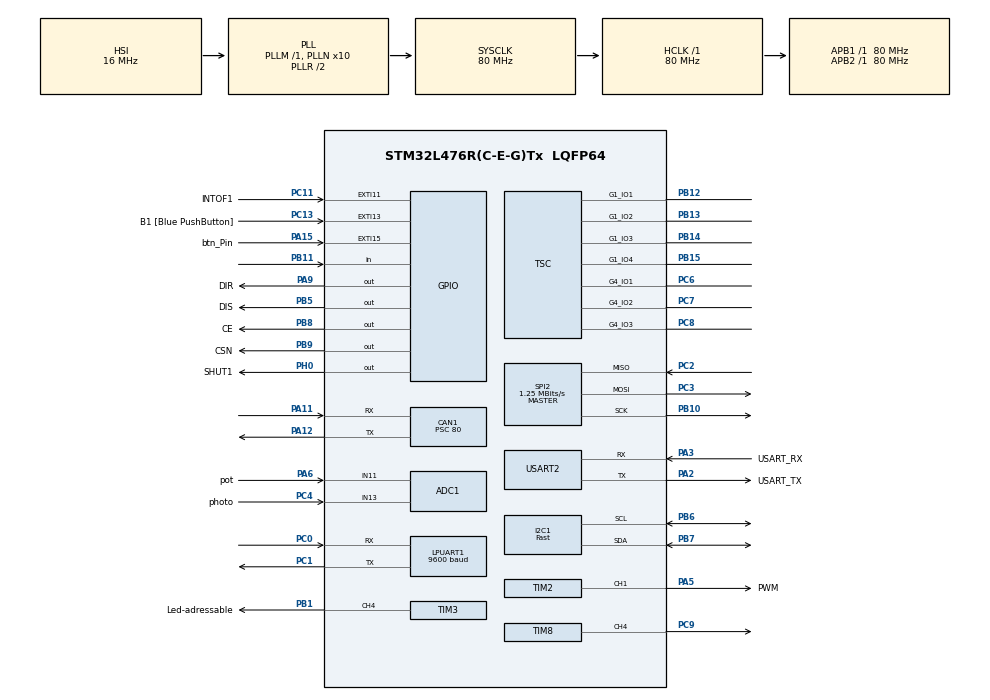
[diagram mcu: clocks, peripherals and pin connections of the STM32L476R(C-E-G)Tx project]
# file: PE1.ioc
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ADC1.Channel-0\#ChannelRegularConversion=ADC_CHANNEL_13
ADC1.Channel-1\#ChannelRegularConversion=ADC_CHANNEL_11
ADC1.ContinuousConvMode=DISABLE
ADC1.DMAContinuousRequests=DISABLE
ADC1.EnableAnalogWatchDog3=true
ADC1.ExternalTrigConv=ADC_SOFTWARE_START
ADC1.MonitoredBy-1\#ChannelRegularConversion=__NULL
ADC1.NbrOfConversion=2
ADC1.NbrOfConversionFlag=1
ADC1.OffsetNumber-0\#ChannelRegularConversion=ADC_OFFSET_NONE
ADC1.OffsetNumber-1\#ChannelRegularConversion=ADC_OFFSET_NONE
ADC1.Rank-0\#ChannelRegularConversion=1
ADC1.Rank-1\#ChannelRegularConversion=2
ADC1.SamplingTime-0\#ChannelRegularConversion=ADC_SAMPLETIME_640CYCLES_5
ADC1.SamplingTime-1\#ChannelRegularConversion=ADC_SAMPLETIME_640CYCLES_5
ADC1.master=1
CAN1.BS1=CAN_BS1_6TQ
CAN1.BS2=CAN_BS2_3TQ
CAN1.CalculateBaudRate=100000
CAN1.CalculateTimeBit=10000
CAN1.CalculateTimeQuantum=1000.0
CAN1.Prescaler=80
Dma.Request0=TIM3_CH4/UP
Dma.TIM3_CH4/UP.0.Direction=DMA_MEMORY_TO_PERIPH
Dma.TIM3_CH4/UP.0.Instance=DMA1_Channel3
Dma.TIM3_CH4/UP.0.MemDataAlignment=DMA_MDATAALIGN_HALFWORD
Dma.TIM3_CH4/UP.0.MemInc=DMA_MINC_ENABLE
Dma.TIM3_CH4/UP.0.Mode=DMA_NORMAL
Dma.TIM3_CH4/UP.0.PeriphDataAlignment=DMA_PDATAALIGN_HALFWORD
Dma.TIM3_CH4/UP.0.PeriphInc=DMA_PINC_DISABLE
Dma.TIM3_CH4/UP.0.Priority=DMA_PRIORITY_LOW
I2C1.I2C_Speed_Mode=I2C_Fast
I2C1.Timing=0x00F12981
LPUART1.BaudRate=9600
LPUART1.WordLength=UART_WORDLENGTH_8B
Mcu.Family=STM32L4
Mcu.Name=STM32L476R(C-E-G)Tx
Mcu.Package=LQFP64
NVIC.ADC1_2_IRQn=true\:0\:0\:false\:false\:true\:true\:true\:true
NVIC.CAN1_RX0_IRQn=true\:0\:0\:false\:false\:true\:true\:true\:true
NVIC.CAN1_RX1_IRQn=true\:0\:0\:false\:false\:true\:true\:true\:true
NVIC.CAN1_SCE_IRQn=true\:0\:0\:false\:false\:true\:true\:true\:true
NVIC.CAN1_TX_IRQn=true\:0\:0\:false\:false\:true\:true\:true\:true
NVIC.DMA1_Channel3_IRQn=true\:0\:0\:false\:false\:true\:false\:true\:true
NVIC.EXTI15_10_IRQn=true\:0\:0\:false\:false\:true\:true\:true\:true
NVIC.LPUART1_IRQn=true\:0\:0\:false\:false\:true\:true\:true\:true
NVIC.PriorityGroup=NVIC_PRIORITYGROUP_4
NVIC.TIM3_IRQn=true\:0\:0\:false\:false\:true\:true\:true\:true
NVIC.TIM4_IRQn=true\:0\:0\:false\:false\:true\:true\:true\:true
NVIC.TIM6_DAC_IRQn=true\:0\:0\:false\:false\:true\:true\:true\:true
PA11.Mode=CAN_Activate
PA11.Signal=CAN1_RX
PA12.Mode=CAN_Activate
PA12.Signal=CAN1_TX
PA13\ (JTMS-SWDIO).GPIO_Label=TMS
PA13\ (JTMS-SWDIO).Mode=Serial_Wire
PA13\ (JTMS-SWDIO).Signal=SYS_JTMS-SWDIO
PA14\ (JTCK-SWCLK).GPIO_Label=TCK
PA14\ (JTCK-SWCLK).Mode=Serial_Wire
PA14\ (JTCK-SWCLK).Signal=SYS_JTCK-SWCLK
PA15\ (JTDI).GPIO_Label=btn_Pin
PA15\ (JTDI).Signal=GPXTI15
PA2.GPIO_Label=USART_TX
PA2.GPIO_Mode=GPIO_MODE_AF_PP
PA2.GPIO_PuPd=GPIO_NOPULL
PA2.GPIO_Speed=GPIO_SPEED_FREQ_VERY_HIGH
PA2.Mode=Asynchronous
PA2.Signal=USART2_TX
PA3.GPIO_Label=USART_RX
PA3.GPIO_Mode=GPIO_MODE_AF_PP
PA3.GPIO_PuPd=GPIO_NOPULL
PA3.GPIO_Speed=GPIO_SPEED_FREQ_VERY_HIGH
PA3.Mode=Asynchronous
PA3.Signal=USART2_RX
PA5.GPIO_Label=PWM
PA5.Signal=S_TIM2_CH1
PA6.GPIO_Label=pot
PA6.Signal=ADCx_IN11
PA9.GPIO_Label=DIR
PA9.Signal=GPIO_Output
PB1.GPIO_Label=Led-adressable
PB1.Signal=S_TIM3_CH4
PB10.Mode=Full_Duplex_Master
PB10.Signal=SPI2_SCK
PB11.GPIO_PuPd=GPIO_PULLUP
PB11.Signal=GPIO_Input
PB12.Mode=G1_IO1-Channel
PB12.Signal=TSC_G1_IO1
PB13.Mode=G1_IO2-Channel
PB13.Signal=TSC_G1_IO2
PB14.Mode=G1_IO3-Channel
PB14.Signal=TSC_G1_IO3
PB15.Mode=G1_IO4-Sampling
PB15.Signal=TSC_G1_IO4
PB3\ (JTDO-TRACESWO).GPIO_Label=SWO
PB3\ (JTDO-TRACESWO).Signal=SYS_JTDO-SWO
PB5.GPIO_Label=DIS
PB5.Signal=GPIO_Output
PB6.Mode=I2C
PB6.Signal=I2C1_SCL
PB7.Mode=I2C
PB7.Signal=I2C1_SDA
PB8.GPIO_Label=CE
PB8.Signal=GPIO_Output
PB9.GPIO_Label=CSN
PB9.Signal=GPIO_Output
PC0.Mode=Asynchronous
PC0.Signal=LPUART1_RX
PC1.Mode=Asynchronous
PC1.Signal=LPUART1_TX
PC11.GPIO_Label=INTOF1
PC11.GPIO_ModeDefaultEXTI=GPIO_MODE_IT_FALLING
PC11.Signal=GPXTI11
PC13.GPIO_Label=B1 [Blue PushButton]
PC13.GPIO_ModeDefaultEXTI=GPIO_MODE_IT_FALLING
PC13.GPIO_PuPd=GPIO_NOPULL
PC13.Signal=GPXTI13
PC14-OSC32_IN\ (PC14).Mode=LSE-External-Oscillator
PC14-OSC32_IN\ (PC14).Signal=RCC_OSC32_IN
PC15-OSC32_OUT\ (PC15).Mode=LSE-External-Oscillator
PC15-OSC32_OUT\ (PC15).Signal=RCC_OSC32_OUT
PC2.Mode=Full_Duplex_Master
PC2.Signal=SPI2_MISO
PC3.Mode=Full_Duplex_Master
PC3.Signal=SPI2_MOSI
PC4.GPIO_Label=photo
PC4.Signal=ADCx_IN13
PC6.Mode=G4_IO1-Channel
PC6.Signal=TSC_G4_IO1
PC7.Mode=G4_IO2-Channel
PC7.Signal=TSC_G4_IO2
PC8.Mode=G4_IO3-Sampling
PC8.Signal=TSC_G4_IO3
PC9.Signal=S_TIM8_CH4
PH0-OSC_IN\ (PH0).GPIO_Label=SHUT1
PH0-OSC_IN\ (PH0).Signal=GPIO_Output
PH1-OSC_OUT\ (PH1).Signal=RCC_OSC_OUT
ProjectManager.HeapSize=0x200
ProjectManager.StackSize=0x400
ProjectManager.TargetToolchain=STM32CubeIDE
RCC.ADCCLockSelection=RCC_ADCCLKSOURCE_SYSCLK
RCC.ADCFreq_Value=80000000
RCC.AHBFreq_Value=80000000
RCC.APB1Freq_Value=80000000
RCC.APB1TimFreq_Value=80000000
RCC.APB2Freq_Value=80000000
RCC.APB2TimFreq_Value=80000000
RCC.CortexFreq_Value=80000000
RCC.HCLKFreq_Value=80000000
RCC.HSE_VALUE=8000000
RCC.HSI_VALUE=16000000
RCC.LPUART1CLockSelection=RCC_LPUART1CLKSOURCE_HSI
RCC.MSI_VALUE=4000000
RCC.PLLN=10
RCC.PLLSourceVirtual=RCC_PLLSOURCE_HSI
RCC.PREFETCH_ENABLE=1
RCC.SYSCLKFreq_VALUE=80000000
RCC.SYSCLKSource=RCC_SYSCLKSOURCE_PLLCLK
RCC.USBFreq_Value=64000000
RCC.VCOOutputFreq_Value=160000000
SH.ADCx_IN11.0=ADC1_IN11,IN11-Single-Ended
SH.ADCx_IN13.0=ADC1_IN13,IN13-Single-Ended
SH.S_TIM2_CH1.0=TIM2_CH1,PWM Generation1 CH1
SH.S_TIM3_CH4.0=TIM3_CH4,PWM Generation4 CH4
SH.S_TIM8_CH4.0=TIM8_CH4,PWM Generation4 CH4
SPI2.BaudRatePrescaler=SPI_BAUDRATEPRESCALER_64
SPI2.CLKPhase=SPI_PHASE_2EDGE
SPI2.CalculateBaudRate=1.25 MBits/s
SPI2.DataSize=SPI_DATASIZE_8BIT
SPI2.Direction=SPI_DIRECTION_2LINES
SPI2.Mode=SPI_MODE_MASTER
SPI2.VirtualType=VM_MASTER
TIM2.Channel-PWM\ Generation1\ CH1=TIM_CHANNEL_1
TIM2.Period=80000-1
TIM3.Channel-PWM\ Generation4\ CH4=TIM_CHANNEL_4
TIM3.Period=100-1
TIM3.Prescaler=1-1
TIM4.Channel-PWM\ Generation1\ No\ Output=TIM_CHANNEL_1
TIM4.Period=1000-1
TIM4.Prescaler=800-1
TIM6.Period=10000-1
TIM6.Prescaler=8000-1
TIM8.Channel-PWM\ Generation4\ CH4=TIM_CHANNEL_4
TIM8.Period=40000-1
TIM8.Prescaler=2-1
TSC.ChannelIOs-G1_IO1=TSC_GROUP1_IO1
TSC.ChannelIOs-G1_IO2=TSC_GROUP1_IO2
TSC.ChannelIOs-G1_IO3=TSC_GROUP1_IO3
TSC.ChannelIOs-G4_IO1=TSC_GROUP4_IO1
TSC.ChannelIOs-G4_IO2=TSC_GROUP4_IO2
TSC.SamplingIOs-G1_IO4=TSC_GROUP1_IO4
TSC.SamplingIOs-G4_IO3=TSC_GROUP4_IO3
USART2.VirtualMode-Asynchronous=VM_ASYNC
VP_TIM2_VS_ClockSourceINT.Mode=Internal
VP_TIM3_VS_ClockSourceINT.Mode=Internal
VP_TIM4_VS_ClockSourceINT.Mode=Internal
VP_TIM4_VS_no_output1.Mode=PWM Generation1 No Output
VP_TIM6_VS_ClockSourceINT.Mode=Enable_Timer
VP_TIM8_VS_ClockSourceINT.Mode=Internal
board=NUCLEO-L476RG

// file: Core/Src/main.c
/* USER CODE BEGIN Header */
/**
  ******************************************************************************
  * @file           : main.c
  * @brief          : Main program body
  ******************************************************************************
  * @attention
  *
  * Copyright (c) 2025 STMicroelectronics.
  * All rights reserved.
  *
  * This software is licensed under terms that can be found in the LICENSE file
  * in the root directory of this software component.
  * If no LICENSE file comes with this software, it is provided AS-IS.
  *
  ******************************************************************************
  */
/* USER CODE END Header */
#include "main.h"
#include "adc.h"
#include "can.h"
#include "dma.h"
#include "i2c.h"
#include "usart.h"
#include "spi.h"
#include "tim.h"
#include "tsc.h"
#include "gpio.h"

/* USER CODE BEGIN Includes */

#include "buzzer.h"
#include "stdio.h"
#include "stdbool.h"
#include <stdlib.h>
#include"fonts.h"
 #include"ssd1306.h"
#include "SGP40.h"
#include "../../Drivers/VL53L1_Nucleo/core/inc/vl53l1_api.h"
/* USER CODE END Includes */

/* USER CODE BEGIN PV */

// Commande au capteur
uint8_t control_T[2] = {0x80,0x15}; // one-shot + shutdown
// Adresse de lecture du résultat
uint8_t Temp_Address = 0x02;
// Contenu des registres de réponse du capteur
uint8_t Temp[3];
// Chaîne tampon pour sprintf()
char str[10];
uint8_t sw= 1;
//int32_t Temperature;
float fTemperature;
uint16_t message;
uint16_t message2;
HAL_StatusTypeDef error_code;
uint16_t PwmRC[96+50];

volatile uint8_t datasentflag = 0;

uint8_t DevAddress = 0x59; // Adresse SGP40
uint8_t cmd_test[]={0x28, 0x0E}; // Auto-test

uint8_t cmd_mesure[]={0x26, 0x0F, 0x80 ,0x00, 0xA2, 0x66, 0x66, 0x93};

uint8_t read[3];

uint16_t Sraw_voc;
uint32_t pot_Value = 0;
uint32_t ldr_value = 0;
uint32_t count500 =0;
uint32_t count100 =0;
uint32_t count15 =0;
uint32_t count =0;
uint32_t count11 =0;
uint32_t count540=0;

uint32_t count50=0;
uint8_t once= 1;
uint8_t once2= 1;
char str2[10]; // sg oled
volatile uint16_t running_day= 0;
volatile uint16_t running_night= 0;
uint16_t fisrtCall=1;
HAL_StatusTypeDef error_code2;

#define TOUCH_THRESHOLD 35

uint8_t received_char;
int buffer_index = 0;
uint32_t baseline_group1 = 0;
uint32_t baseline_group4 = 0;
uint32_t adc_value = 0;
 uint8_t RxData[8];
CAN_RxHeaderTypeDef RxHeader;
uint8_t cpt_adc=0;

uint8_t play_triggered = 0;
typedef struct {
    int hours;
    int minutes;
    int seconds;
} Time;
char msg[32];
Time currentTime = {0, 0, 0};
Time alarmTime = {20, 20, 20};
volatile bool timeUpdate= 0;
uint8_t time_buffer[10];

uint32_t value_group1 = 0;
uint32_t value_group4 = 0;

VL53L1_Dev_t devLeft;
VL53L1_Dev_t devRight;
VL53L1_DEV Dev;
uint8_t ToFSensor = 0;
uint16_t step=0;
VL53L1_RangingMeasurementData_t RangingData;
uint16_t Dist_Obst_G;

 GPIO_PinState last_state = GPIO_PIN_SET;
   GPIO_PinState current_state = GPIO_PIN_SET;
   uint16_t diff =0;
/* USER CODE END PV */

void SystemClock_Config(void);
/* USER CODE BEGIN PFP */

extern void update_display(Time t,uint32_t ldr );

extern buzzer_status_t buzzer_ePlaySong( uint16_t tempo);
extern void buzzer_vStop(void);

void progressive_led_on(void);
void set_leds(uint8_t num_on);
uint8_t bonne_sommeil(uint16_t message, uint16_t message2);

void Read_Touch_Group1(void);
void Read_Touch_Group4(void);
bool isStableTouch(uint8_t group_idx, uint32_t base, uint32_t threshold);

void display_temp();
void display_IAQ();
void poll_PB11(void);
void ResetAndInitializeTOF1(void );
/* USER CODE END PFP */

int main(void)
{

  /* MCU Configuration--------------------------------------------------------*/

  /* Reset of all peripherals, Initializes the Flash interface and the Systick. */
  HAL_Init();

  /* Configure the system clock */
  SystemClock_Config();

  /* Initialize all configured peripherals */
  MX_GPIO_Init();
  MX_DMA_Init();
  MX_USART2_UART_Init();
  MX_TIM8_Init();
  MX_LPUART1_UART_Init();
  MX_I2C1_Init();
  MX_TIM6_Init();
  MX_SPI2_Init();
  MX_TSC_Init();
  MX_CAN1_Init();
  MX_TIM3_Init();
  MX_ADC1_Init();
  MX_TIM2_Init();
  MX_TIM4_Init();
  /* USER CODE BEGIN 2 */
  HAL_TSC_Start(&htsc);

	 HAL_CAN_Start(&hcan1);
	 SSD1306_Init();

//callbacks BusCan

	 HAL_GPIO_WritePin(CSN_GPIO_Port,CSN_Pin,GPIO_PIN_SET);

//moteur

	 HAL_GPIO_WritePin(GPIOA, DIR_Pin, GPIO_PIN_RESET);
	 HAL_GPIO_WritePin(GPIOB, DIS_Pin, GPIO_PIN_SET);
	 __HAL_TIM_SET_COMPARE(&htim2,TIM_CHANNEL_1, 20000);

	 HAL_TIM_PWM_Start(&htim2, TIM_CHANNEL_1);

	// Configuration des filtres
  	CAN_FilterTypeDef sFilterConfig;
  	sFilterConfig.FilterBank = 0;
  	sFilterConfig.FilterMode = CAN_FILTERMODE_IDLIST;
  	sFilterConfig.FilterScale = CAN_FILTERSCALE_16BIT;
  	sFilterConfig.FilterIdHigh = 0x0220;
  	sFilterConfig.FilterIdLow = 0x0220;
  	sFilterConfig.FilterMaskIdHigh = 0x0220;
  	sFilterConfig.FilterMaskIdLow = 0x0220;
  	sFilterConfig.FilterFIFOAssignment = CAN_FILTER_FIFO0;
  	sFilterConfig.FilterActivation = ENABLE;
  	HAL_CAN_ConfigFilter(&hcan1, &sFilterConfig );

  // Envoi de la commande SGP40

	error_code=HAL_I2C_Master_Transmit(&hi2c1,(DevAddress<<1),(uint8_t *)cmd_test, sizeof(cmd_test),HAL_MAX_DELAY);
	HAL_Delay(320);

  // Lecture de la réponse du SGP40

	error_code=HAL_I2C_Master_Receive(&hi2c1,(DevAddress<<1), (uint8_t *)read, sizeof(read),HAL_MAX_DELAY);

    set_leds(0);

     HAL_TIM_Base_Start_IT(&htim6);
	 HAL_TIM_PWM_Start_IT(&htim4, TIM_CHANNEL_4);

     HAL_CAN_ActivateNotification(&hcan1,CAN_IT_RX_FIFO0_MSG_PENDING );
	 HAL_CAN_ActivateNotification(&hcan1,CAN_IT_TX_MAILBOX_EMPTY );

	 //bluetooth
	 HAL_UART_Receive_IT(&hlpuart1,time_buffer, 10);

	 ResetAndInitializeTOF1();
  /* USER CODE END 2 */

  /* Infinite loop */
  while (1)
  {

    /* USER CODE BEGIN 3 */

	  //condition moteur
	  if(count50> 50)  {HAL_ADC_Start_IT(&hadc1); count50= 0;}

		if( (pot_Value/ 10) < Sraw_voc)
			  HAL_GPIO_WritePin(GPIOB, DIS_Pin, GPIO_PIN_RESET);
		else
			  HAL_GPIO_WritePin(GPIOB, DIS_Pin, GPIO_PIN_SET);

//time
		if(timeUpdate) {

		char test = time_buffer[0];

		timeUpdate=0;

		if(test=='A'){
			sscanf(time_buffer, "%*c:%d:%d:%d", &alarmTime.hours, &alarmTime.minutes, &alarmTime.seconds );
			//buzzer_ePlaySong( 100);
		}
		else{
			sscanf(time_buffer, "%*c:%d:%d:%d", &currentTime.hours, &currentTime.minutes, &currentTime.seconds );
			update_display(currentTime, ldr_value);
		}
		}

//alarme
	  if((alarmTime.hours==currentTime.hours)  &&(alarmTime.minutes==currentTime.minutes)&&(currentTime.seconds ==alarmTime.seconds)){
		  buzzer_ePlaySong( 120);
		running_day=1;
		  play_triggered = 1;
	  }

	  if (buzzer_isIdle())
	        {
	            play_triggered = 0;
	        }

	  progressive_led_on();
	  poll_PB11();
//capteur de température
	 HAL_GPIO_WritePin(CE_GPIO_Port,CE_Pin, GPIO_PIN_SET);

	 error_code=HAL_SPI_Transmit(&hspi2,(uint8_t *)control_T,sizeof(control_T),HAL_MAX_DELAY);

     HAL_GPIO_WritePin(CE_GPIO_Port,CE_Pin,GPIO_PIN_RESET);

//     if(once) {
//
//    	 count15= 0;
//
//    	 once=0;
//     }

	if (count15> 15){

		once= 	1;
		count15= 0;

     HAL_GPIO_WritePin(CE_GPIO_Port,CE_Pin, GPIO_PIN_SET);

	 error_code=HAL_SPI_Transmit(&hspi2,&Temp_Address,1,HAL_MAX_DELAY);

	 error_code=HAL_SPI_Receive(&hspi2,(uint8_t *)Temp,3,HAL_MAX_DELAY);

	 HAL_GPIO_WritePin(CE_GPIO_Port,CE_Pin,GPIO_PIN_RESET);
	}

	 uint8_t msbvalue = Temp[0];
	 uint8_t lsbvalue = Temp[1];

	 if(lsbvalue && 0b10000000 == 0b10000000)
		{
			fTemperature = msbvalue + 0.50;
		}
	 else if(lsbvalue && 0b01000000 == 0b01000000)
		{
			fTemperature = msbvalue + 0.25;
		}
	 else
		{
			fTemperature = msbvalue;
		}

//	 if(once2)
//	 {
//
//		 count100 =0;
//		 once2= 0;
//	 }
if(count100 > 100){

	once2= 1;
	count100 = 0;
  // Reconstruction de la réponse du SGP40
     Sraw_voc = SGP40_MeasureVOC(fTemperature, 50);

}

  //  tactile
         if (isStableTouch(TSC_GROUP1_IDX, 239, TOUCH_THRESHOLD)) {
          sw++;
          if(sw==3)  sw=0;
         }
  }
  /* USER CODE END 3 */
}

void SystemClock_Config(void)
{
  RCC_OscInitTypeDef RCC_OscInitStruct = {0};
  RCC_ClkInitTypeDef RCC_ClkInitStruct = {0};

  /** Configure the main internal regulator output voltage
  */
  if (HAL_PWREx_ControlVoltageScaling(PWR_REGULATOR_VOLTAGE_SCALE1) != HAL_OK)
  {
    Error_Handler();
  }

  /** Initializes the RCC Oscillators according to the specified parameters
  * in the RCC_OscInitTypeDef structure.
  */
  RCC_OscInitStruct.OscillatorType = RCC_OSCILLATORTYPE_HSI;
  RCC_OscInitStruct.HSIState = RCC_HSI_ON;
  RCC_OscInitStruct.HSICalibrationValue = RCC_HSICALIBRATION_DEFAULT;
  RCC_OscInitStruct.PLL.PLLState = RCC_PLL_ON;
  RCC_OscInitStruct.PLL.PLLSource = RCC_PLLSOURCE_HSI;
  RCC_OscInitStruct.PLL.PLLM = 1;
  RCC_OscInitStruct.PLL.PLLN = 10;
  RCC_OscInitStruct.PLL.PLLP = RCC_PLLP_DIV7;
  RCC_OscInitStruct.PLL.PLLQ = RCC_PLLQ_DIV2;
  RCC_OscInitStruct.PLL.PLLR = RCC_PLLR_DIV2;
  if (HAL_RCC_OscConfig(&RCC_OscInitStruct) != HAL_OK)
  {
    Error_Handler();
  }

  /** Initializes the CPU, AHB and APB buses clocks
  */
  RCC_ClkInitStruct.ClockType = RCC_CLOCKTYPE_HCLK|RCC_CLOCKTYPE_SYSCLK
                              |RCC_CLOCKTYPE_PCLK1|RCC_CLOCKTYPE_PCLK2;
  RCC_ClkInitStruct.SYSCLKSource = RCC_SYSCLKSOURCE_PLLCLK;
  RCC_ClkInitStruct.AHBCLKDivider = RCC_SYSCLK_DIV1;
  RCC_ClkInitStruct.APB1CLKDivider = RCC_HCLK_DIV1;
  RCC_ClkInitStruct.APB2CLKDivider = RCC_HCLK_DIV1;

  if (HAL_RCC_ClockConfig(&RCC_ClkInitStruct, FLASH_LATENCY_4) != HAL_OK)
  {
    Error_Handler();
  }
}

/* USER CODE BEGIN 4 */
uint8_t cpt=0;

uint8_t flag_btn=0;
void HAL_TIM_PWM_PulseFinishedCallback(TIM_HandleTypeDef *htim)
{
	if (htim->Instance == TIM3){
	HAL_TIM_PWM_Stop_DMA(&htim3, TIM_CHANNEL_4);
	datasentflag=1;}

	if (htim->Instance == TIM4){
		 count500 ++; count100 ++; count15 ++;count =1; count11++; count50++;
		 buzzer_task();
		 if(count11>= 11 && flag_btn){

				if(sw==1) { display_temp(); sw=2;}
				else if(sw==0) {update_display(currentTime, ldr_value); sw=1;}
				else {display_IAQ(); sw=0;  }
				cpt++;
				count11=0;
			    flag_btn=0;
		 }
	}
}
void HAL_TIM_PeriodElapsedCallback(TIM_HandleTypeDef *htim)
{
    if (htim->Instance == TIM6) {
        currentTime.seconds++;

        if (currentTime.seconds >= 60) {
            currentTime.seconds = 0;
            currentTime.minutes++;
            if (currentTime.minutes >= 60) {
                currentTime.minutes = 0;
                currentTime.hours++;
                if (currentTime.hours >= 24) {
                    currentTime.hours = 0;
                }
            }
        }

        if(sw==1)  update_display(currentTime, ldr_value); else if(sw==2) display_temp(); else display_IAQ();
    }

}

void HAL_UART_RxCpltCallback(UART_HandleTypeDef *huart){

	timeUpdate=1;

	  HAL_UART_Receive_IT(&hlpuart1,time_buffer, 10);

}

void HAL_GPIO_EXTI_Callback(uint16_t GPIO_Pin) {
if ( GPIO_Pin == INTOF1_Pin ) {
VL53L1_GetRangingMeasurementData(&devLeft, &RangingData);
Dist_Obst_G = RangingData.RangeMilliMeter;
if ( Dist_Obst_G <= 300)
buzzer_vStop();
VL53L1_ClearInterruptAndStartMeasurement(Dev);

}

if ( GPIO_Pin == btn_Pin_Pin ) {
	count11= 0;
    flag_btn=1;
}

}

void HAL_CAN_RxFifo0MsgPendingCallback(CAN_HandleTypeDef *hcan)
{
	if(hcan == &hcan1)
	{
		HAL_CAN_GetRxMessage(&hcan1, CAN_RX_FIFO0, &RxHeader, RxData);

		// Reconstruction du message, en décimal : 4660
		message = ((uint16_t)(RxData[0])<<8)|RxData[1];

		message2 = ((uint16_t)(RxData[2])<<8)|RxData[3];
	}
}

////// functionssssss

void set_leds(uint8_t num_on) {
    int k = 0;

    for (int i = 0; i < 4; i++) {
        uint8_t p = (i < num_on) ? 1 : 0;

        uint8_t green = 0;
        uint8_t red = 0;
        uint8_t blue = 0;

        if (p) {
            if (running_day) {
                // Blue
                red = 0;
                green = 0;
                blue = 255 * 0.3f;
            } else {
                // Red
                red = 255 * 0.3f  ;
                green = 0;
                blue = 0;
            }
        }

        // GRB order
        uint8_t color[3] = {green, red, blue};

        for (int c = 0; c < 3; c++) {
            for (int b = 7; b >= 0; b--) {
                PwmRC[k++] = (color[c] >> b) & 0x01 ? 64 : 32;
            }
        }
    }

    // Reset signal
    for (int i = 0; i < 50; i++) {
        PwmRC[k++] = 0;
    }

    datasentflag = 0;
    HAL_TIM_PWM_Start_DMA(&htim3, TIM_CHANNEL_4, (uint32_t *)PwmRC, k);
}

void progressive_led_on(void) {

if(running_day || running_night){

    switch (step) {
    case 0:

				step = 1;
				set_leds(1);
				count500 =0;

                break;
        case 1:
            if (count500  > 500) {
                step = 2;
                set_leds(2);
                count500 =0;
            }
            break;
        case 2:
            if (count500  > 500) {
                step = 3;
                set_leds(3);
                count500 =0;
            }
            break;
        case 3:
            if (count500  > 500) {
                step = 4;
                set_leds(4);
                count500 =0;
            }
            break;
        case 4:
            if (count500  > 500) {
                running_day = 0;
                running_night =0;
                step = 0;
                set_leds(0);
            }
            break;
        default:
            break;
    }
}

}

void Read_Touch_Group1(void) {
    // Configurer le groupe 1
    htsc.Instance = TSC;
    htsc.Init.ChannelIOs = TSC_GROUP1_IO1 ;
    htsc.Init.SamplingIOs = TSC_GROUP1_IO4;
    htsc.Init.ShieldIOs = 0;

    HAL_TSC_IODischarge(&htsc, ENABLE);
    HAL_Delay(1); // petite décharge

    HAL_TSC_IODischarge(&htsc, DISABLE);
    HAL_TSC_Start(&htsc);
    while (HAL_TSC_GetState(&htsc) != HAL_TSC_STATE_READY);
    value_group1 = HAL_TSC_GroupGetValue(&htsc, TSC_GROUP1_IDX);
    HAL_TSC_Stop(&htsc);
}

void Read_Touch_Group4(void) {
    // Configurer le groupe 4
    htsc.Instance = TSC;
    htsc.Init.ChannelIOs = TSC_GROUP4_IO1 | TSC_GROUP4_IO2; // PC6, PC7
    htsc.Init.SamplingIOs = TSC_GROUP4_IO3; // PC5
    htsc.Init.ShieldIOs = 0;

    HAL_TSC_IODischarge(&htsc, ENABLE);
    HAL_Delay(1); // petite décharge

    HAL_TSC_IODischarge(&htsc, DISABLE);
    HAL_TSC_Start(&htsc);

    while (HAL_TSC_GetState(&htsc) != HAL_TSC_STATE_READY);
    value_group4 = HAL_TSC_GroupGetValue(&htsc, TSC_GROUP4_IDX);
    HAL_TSC_Stop(&htsc);
}

bool isStableTouch(uint8_t group_idx, uint32_t base, uint32_t threshold) {
    int stable_count = 0;
    for (int i = 0; i < 5; i++) {
        HAL_TSC_Start(&htsc);
        while (HAL_TSC_GetState(&htsc) != HAL_TSC_STATE_READY);
        uint32_t val = HAL_TSC_GroupGetValue(&htsc, group_idx);
        HAL_TSC_Stop(&htsc);

        if (abs(val-base) >threshold)
            stable_count++;
        else
            stable_count = 0;
        HAL_Delay(10);
    }
    return (stable_count >= 3);
}
void poll_PB11(void) {
	if (fisrtCall){ fisrtCall =0;}
	else{
	current_state= HAL_GPIO_ReadPin(GPIOB, GPIO_PIN_11);

    if (current_state != last_state) {
        last_state = current_state;
        if (current_state == GPIO_PIN_RESET) {
        	running_night =1;
        }
    }}
}

void display_IAQ(){

	char str[10];

	    uint8_t sleep_quality;

	      // Clear OLED display
	      SSD1306_Clear();

	      // Display VOC value
	      sprintf(str, "VOC:%d", Sraw_voc);
	      SSD1306_GotoXY(0, 0);
	      if (ldr_value > 3000)
	          SSD1306_Puts(str, &Font_11x18, 1);
	      else
	          SSD1306_Puts(str, &Font_11x18, 0);

	      // Call sleep quality function
	      sleep_quality =  bonne_sommeil(message, message2);

	      // Display sleep quality on second line
	      SSD1306_GotoXY(0, 25); // second row (adjust if needed)
	      if (ldr_value > 3000){
	      if (sleep_quality)
	          SSD1306_Puts("bonne sommeil", &Font_7x10, 1);
	      else
	          SSD1306_Puts("mauvaise sommeil", &Font_7x10, 1);}
	      else {
		      if (sleep_quality)
		          SSD1306_Puts("bonne sommeil", &Font_7x10, 0);
		      else
		          SSD1306_Puts("mauvaise sommeil", &Font_7x10, 0);}

	      // Update OLED
	      SSD1306_UpdateScreen();

}
void display_temp(){

	sprintf(str,"%.1f C",fTemperature);
	 SSD1306_Clear();
	SSD1306_GotoXY (0,30);
	SSD1306_GotoXY(0, 0);
if (ldr_value > 3000)
	SSD1306_Puts (str,&Font_16x26,1);
else
	SSD1306_Puts (str,&Font_16x26,0);
	SSD1306_UpdateScreen();

}

	void ResetAndInitializeTOF1(void ){
	VL53L1_DetectionConfig_t DetectionConfig;
	uint8_t newI2C = 0x52;
	/* Reset the 1 ToF sensors on the expansion board */
	HAL_GPIO_WritePin(GPIOH, SHUT1_Pin, GPIO_PIN_RESET);
	HAL_Delay(10);
	/* Bring the sensors out of the reset stage one by one and set the new I2C address */
	Dev=&devLeft;
	HAL_GPIO_WritePin(GPIOH, SHUT1_Pin, GPIO_PIN_SET);
	HAL_Delay(5);
	Dev->comms_speed_khz = 400;
	Dev->I2cHandle = &hi2c1;
	Dev->comms_type = 1;
	Dev->I2cDevAddr=0x52; /* default ToF sensor I2C address*/
	newI2C = Dev->I2cDevAddr + 2;
	VL53L1_SetDeviceAddress(Dev, newI2C);
	Dev->I2cDevAddr=newI2C;
	/* Device Initialization and setting */
	VL53L1_WaitDeviceBooted(Dev);
	VL53L1_DataInit(Dev);
	VL53L1_StaticInit(Dev);
	VL53L1_SetDistanceMode(Dev, VL53L1_DISTANCEMODE_LONG);
	VL53L1_SetMeasurementTimingBudgetMicroSeconds(Dev, 40000);
	VL53L1_SetInterMeasurementPeriodMilliSeconds(Dev, 50);
	memset ( &DetectionConfig,0,sizeof(DetectionConfig));
	DetectionConfig.DetectionMode = VL53L1_DETECTION_DISTANCE_ONLY;
	DetectionConfig.IntrNoTarget = 0;
	DetectionConfig.Distance.CrossMode = VL53L1_THRESHOLD_IN_WINDOW;
	DetectionConfig.Distance.Low = 20;
	DetectionConfig.Distance.High = 300;
	VL53L1_SetThresholdConfig ( Dev, &DetectionConfig);
	VL53L1_UserRoi_t roiConfig;
	roiConfig.TopLeftX= 0;
	roiConfig.TopLeftY= 15;
	roiConfig.BotRightX= 15;
	roiConfig.BotRightY= 0;
	VL53L1_SetUserROI(Dev, &roiConfig);
	VL53L1_ClearInterruptAndStartMeasurement(Dev);
}
	void HAL_ADC_ConvCpltCallback(ADC_HandleTypeDef* hadc) {
		cpt_adc++;
		if(cpt_adc==1) {ldr_value = HAL_ADC_GetValue(&hadc1);}
		else { pot_Value = HAL_ADC_GetValue(&hadc1); cpt_adc=0;}

	}

	uint8_t bonne_sommeil(uint16_t message, uint16_t message2) {
	    // Calculate absolute difference
	     diff = (message > message2) ? (message - message2) : (message2 - message);

	    // If difference is small (less than threshold), return 1
	    if (diff < 30) {  // Example: movement < 30 mm is acceptable
	        return 1; // Good (stable) sleep
	    } else {
	        return 0; // Bad (restless) sleep
	    }
	}

/* USER CODE END 4 */

void Error_Handler(void)
{
  __disable_irq();
  while (1)
  {
  }
}
